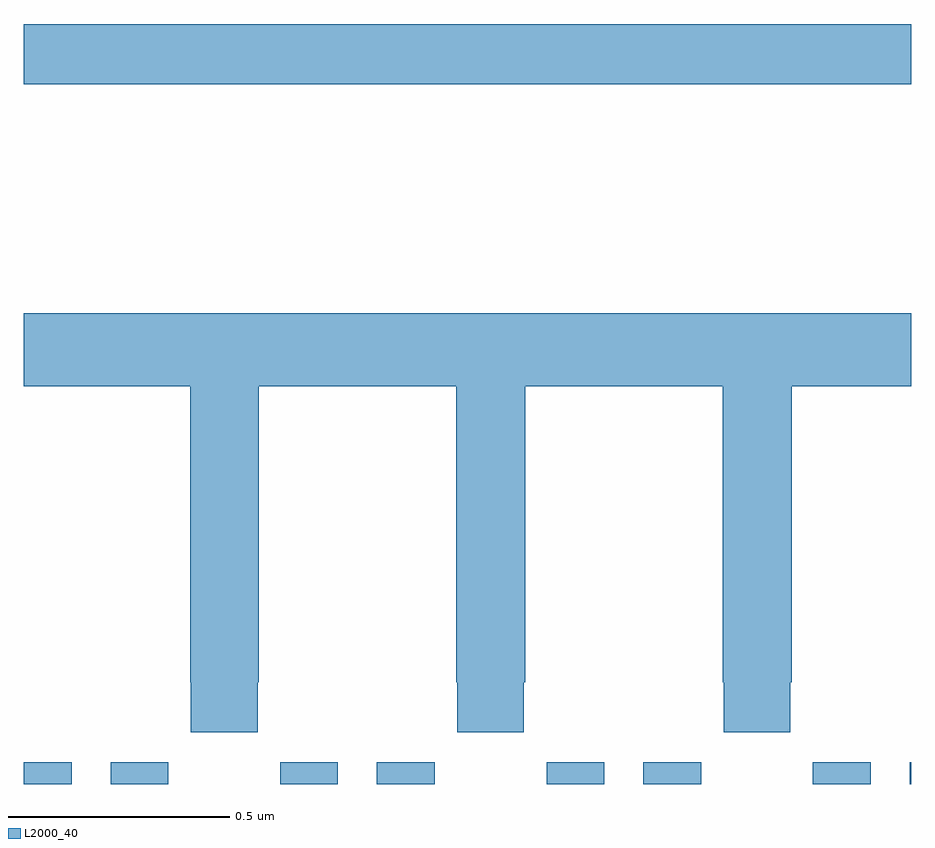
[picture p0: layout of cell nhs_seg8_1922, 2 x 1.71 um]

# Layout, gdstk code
import gdstk
lib = gdstk.Library(unit=1e-6, precision=1e-09)
def R(c, l, rs):  # rectangles x0, y0, x1, y1
    for r in rs: c.add(gdstk.rectangle(r[:2], r[2:], *l))
def P(c, l, *ps):  # polygons
    for p in ps: c.add(gdstk.Polygon(p, *l))
L2000_40 = (2000, 40)

nhs_seg8_1922 = lib.new_cell('nhs_seg8_1922')
R(nhs_seg8_1922, L2000_40, [(136,1152.9,136.108,1152.949), (136.196,1152.9,136.326,1152.949), (136.578,1152.9,136.708,1152.949), (136.796,1152.9,136.926,1152.949), (137.178,1152.9,137.308,1152.949), (137.396,1152.9,137.526,1152.949), (137.778,1152.9,137.908,1152.949), (137.996,1152.9,138,1152.949), (136,1154.476,138,1154.612)])
P(nhs_seg8_1922, L2000_40, [(136.527,1153.129),(136.53,1153.129),(136.53,1153.796),(136.975,1153.796),(136.975,1153.129),(136.977,1153.129),(136.977,1153.017),(137.127,1153.017),(137.127,1153.129),(137.13,1153.129),(137.13,1153.796),(137.575,1153.796),(137.575,1153.129),(137.577,1153.129),(137.577,1153.017),(137.727,1153.017),(137.727,1153.129),(137.73,1153.129),(137.73,1153.796),(138,1153.796),(138,1153.96),(136,1153.96),(136,1153.796),(136.375,1153.796),(136.375,1153.129),(136.377,1153.129),(136.377,1153.017),(136.527,1153.017)])

lib.write_gds('nhs_seg8_1922.gds')
